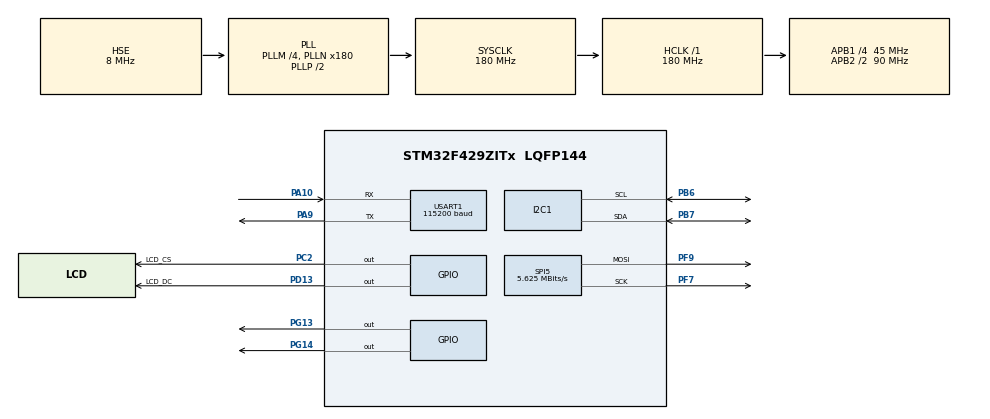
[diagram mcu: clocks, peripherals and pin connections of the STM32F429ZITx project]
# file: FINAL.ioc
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I2C1.I2C_Mode=I2C_Standard
Mcu.Family=STM32F4
Mcu.Name=STM32F429ZITx
Mcu.Package=LQFP144
NVIC.PriorityGroup=NVIC_PRIORITYGROUP_4
PA10.Mode=Asynchronous
PA10.Signal=USART1_RX
PA9.Mode=Asynchronous
PA9.Signal=USART1_TX
PB6.Mode=I2C
PB6.Signal=I2C1_SCL
PB7.Mode=I2C
PB7.Signal=I2C1_SDA
PC2.GPIO_Label=LCD_CS 
PC2.GPIO_Speed=GPIO_SPEED_FREQ_LOW
PC2.PinState=GPIO_PIN_SET
PC2.Signal=GPIO_Output
PD13.GPIO_Label=LCD_DC
PD13.Signal=GPIO_Output
PF7.Mode=TX_Only_Simplex_Unidirect_Master
PF7.Signal=SPI5_SCK
PF9.Mode=TX_Only_Simplex_Unidirect_Master
PF9.Signal=SPI5_MOSI
PG13.Signal=GPIO_Output
PG14.Signal=GPIO_Output
PH0/OSC_IN.Mode=HSE-External-Oscillator
PH0/OSC_IN.Signal=RCC_OSC_IN
PH1/OSC_OUT.Mode=HSE-External-Oscillator
PH1/OSC_OUT.Signal=RCC_OSC_OUT
ProjectManager.HeapSize=0x200
ProjectManager.StackSize=0x400
ProjectManager.TargetToolchain=STM32CubeIDE
RCC.48MHZClocksFreq_Value=120000000
RCC.AHBFreq_Value=180000000
RCC.APB1CLKDivider=RCC_HCLK_DIV4
RCC.APB1Freq_Value=45000000
RCC.APB1TimFreq_Value=90000000
RCC.APB2CLKDivider=RCC_HCLK_DIV2
RCC.APB2Freq_Value=90000000
RCC.APB2TimFreq_Value=180000000
RCC.CortexFreq_Value=180000000
RCC.HCLKFreq_Value=180000000
RCC.HSE_VALUE=8000000
RCC.HSI_VALUE=16000000
RCC.LSE_VALUE=32768
RCC.PLLM=4
RCC.PLLN=180
RCC.PLLQ=3
RCC.PLLSAIN=50
RCC.PLLSourceVirtual=RCC_PLLSOURCE_HSE
RCC.SYSCLKFreq_VALUE=180000000
RCC.SYSCLKSource=RCC_SYSCLKSOURCE_PLLCLK
RCC.VCOOutputFreq_Value=360000000
SPI5.BaudRatePrescaler=SPI_BAUDRATEPRESCALER_16
SPI5.CalculateBaudRate=5.625 MBits/s
SPI5.Direction=SPI_DIRECTION_2LINES
SPI5.Mode=SPI_MODE_MASTER
SPI5.VirtualType=VM_MASTER
USART1.BaudRate=115200
USART1.VirtualMode=VM_ASYNC
board=STM32F429I-DISC1

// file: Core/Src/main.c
/* USER CODE BEGIN Header */
/**
  ******************************************************************************
  * @file           : main.c
  * @brief          : OINSExpress — STM32F429I-DISC1
  *
  *  PFA 2026 — FST | Mrabet Islem & Merghni Ons
  *
  *  CORRECTIONS APPLIQUEES :
  *    1. Suppression du HAL_Delay(2000) bloquant dans la branche NORMAL
  *    2. Compute_State avec GATE STATIONNAIRE (anti-faux-positifs au repos)
  *    3. Confirmation temporelle (3 lectures consécutives) avant changement d'état
  *    4. Calibration MPU6050 au boot (offsets accéléromètre + gyroscope)
  *    5. Nettoyage commentaire orphelin + doublon LED
  ******************************************************************************
  */
/* USER CODE END Header */

#include "main.h"
/* USER CODE BEGIN Includes */
#include "mpu6050.h"
#include "ili9341.h"
#include <stdio.h>
#include <string.h>
#include <math.h>
/* USER CODE END Includes */

I2C_HandleTypeDef hi2c1;
SPI_HandleTypeDef hspi5;
UART_HandleTypeDef huart1;

/* USER CODE BEGIN PD */

/* ══════════════════════════════════════════════════════════════
 * PALETTE — Bleu marine fonce et derivees (RGB565)
 * ══════════════════════════════════════════════════════════════ */
#define COL_BG        0x08A5   /* #0A1428  fond principal (tres sombre) */
#define COL_HEADER    0x0D1F   /* #172554  bleu marine header           */
#define COL_SECTION   0x1108   /* #112244  fond titre de section        */
#define COL_BORDER    0x1A51   /* #1A4A8A  bordure / separateur         */
#define COL_VALUE     0x07FF   /* cyan vif - valeurs numeriques         */
#define COL_LABEL     0x7496   /* #7090B0  labels axes / unites         */
#define COL_WHITE     0xFFFF   /* blanc - titres                        */
#define COL_BAR_BG    0x0908   /* #0D2040  fond barre                   */
#define COL_BAR_ACC   0x041F   /* #0080FF  barre accelerometre          */
#define COL_BAR_GYR   0x0654   /* #00C8A0  barre gyroscope (teal)       */
#define COL_ORANGE    0xFB82   /* #F97316  orange accent                */
#define COL_NORMAL    0x0584   /* #10B981  NORMAL  (vert)               */
#define COL_RISKY     0xFD20   /* orange   RISQUE                       */
#define COL_DANGER    0xF800   /* rouge    DANGEREUX                    */

/* ── Positions Y du layout vertical (ecran 240x320) ────────── */
#define Y_STATE      31
#define Y_STATE_H    99
#define Y_ACC_TITLE  132
#define Y_ACC_X      149
#define Y_ACC_Y      172
#define Y_ACC_Z      195
#define Y_GYR_TITLE  219
#define Y_GYR_X      236
#define Y_GYR_Y      259
#define Y_GYR_Z      282
#define Y_TEMP       304

/* ── LEDs ───────────────────────────────────────────────────── */
#define LED_GREEN_PORT  GPIOG
#define LED_GREEN_PIN   GPIO_PIN_13
#define LED_RED_PORT    GPIOG
#define LED_RED_PIN     GPIO_PIN_14

/* ── Timings ────────────────────────────────────────────────── */
#define MPU_PERIOD_MS   50
#define ESP32_PERIOD_MS 200   /* 5 Hz */
#define LCD_PERIOD_MS   200

/* ── Seuils conduite ────────────────────────────────────────── */
#define THRESH_BRAKE       -1.5f
#define THRESH_ACCEL        1.5f
#define THRESH_TURN        80.0f

/* ── Gate stationnaire (anti-faux-positifs au repos) ───────── */
#define STAT_GYRO_MAG_MAX   8.0f    /* °/s : si gyro_mag < 8 → considéré immobile */
#define STAT_ACC_HORIZ_MAX  0.15f   /* g   : si acc horizontale < 0.15g → idem */

/* ── Confirmation temporelle ────────────────────────────────── */
#define CONFIRM_COUNT  3            /* 3 lectures consécutives (≈150 ms) */

/* USER CODE END PD */

/* USER CODE BEGIN PV */
static char      tx_buf[256];
static MPU6050_t mpu;

/* Offsets de calibration (mesurés au boot, capteur immobile) */
static float acc_off[3] = {0.0f, 0.0f, 0.0f};
static float gyr_off[3] = {0.0f, 0.0f, 0.0f};

typedef enum { STATE_NORMAL, STATE_RISKY, STATE_AGGRESSIVE } DriveState;
static DriveState currentState = STATE_NORMAL;
static DriveState lastState    = STATE_NORMAL;

/* Compteurs pour la confirmation temporelle (anti-faux-positifs) */
static uint8_t risky_counter      = 0;
static uint8_t aggressive_counter = 0;

/* USER CODE END PV */

void SystemClock_Config(void);
static void MX_GPIO_Init(void);
static void MX_SPI5_Init(void);
static void MX_I2C1_Init(void);
static void MX_USART1_UART_Init(void);

/* USER CODE BEGIN PFP */
static void Display_Init_Screen(void);
static void Display_Header(void);
static void Display_DriveState(DriveState state);
static void Display_IMU(MPU6050_t *d);
static void Draw_SectionTitle(uint16_t y, const char *title, uint16_t accent);
static void Draw_ValueRow(uint16_t y, char axis, float value, float vmax,
                          const char *unit, uint16_t bar_color);
static void Send_To_ESP32(MPU6050_t *d);
static DriveState Compute_State(MPU6050_t *d);
/* USER CODE END PFP */

/* USER CODE BEGIN 0 */

/* ── Ecran de demarrage ─────────────────────────────────────── */
static void Display_Init_Screen(void)
{
    LCD_FillScreen(COL_BG);

    /* Header */
    LCD_FillRect(0, 0, 240, 42, COL_HEADER);
    LCD_FillRect(0, 0, 5,   42, COL_ORANGE);
    LCD_DrawHLine(0, 42, 240, COL_BORDER);
    LCD_DrawStringLarge(12, 9, "OINSExpress", COL_WHITE, COL_HEADER);

    /* Titre central */
    LCD_DrawString(40, 110, "Systeme de livraison", COL_LABEL, COL_BG);
    LCD_DrawString(64, 130, "intelligente",         COL_VALUE, COL_BG);

    /* Barre de chargement */
    LCD_DrawString(60, 180, "Demarrage...", COL_VALUE, COL_BG);
    LCD_FillRect(16, 200, 208, 8, COL_BAR_BG);
    for (int i = 0; i <= 208; i += 16) {
        LCD_FillRect(16, 200, i, 8, COL_BAR_ACC);
        HAL_Delay(25);
    }
}

/* ── En-tete fixe (30px, sans texte secondaire) ─────────────── */
static void Display_Header(void)
{
    LCD_FillRect(0, 0, 240, 30, COL_HEADER);
    LCD_FillRect(0, 0, 5,   30, COL_ORANGE);
    LCD_DrawStringLarge(12, 3, "OINSExpress", COL_WHITE, COL_HEADER);
    LCD_DrawHLine(0, 30, 240, COL_BORDER);
}

/* ── Titre de section ───────────────────────────────────────── */
static void Draw_SectionTitle(uint16_t y, const char *title, uint16_t accent)
{
    LCD_FillRect(0, y, 240, 16, COL_SECTION);
    LCD_FillRect(0, y, 3,   16, accent);
    LCD_DrawString(8, y + 1, title, COL_WHITE, COL_SECTION);
}

/* ── Ligne valeur + mini barre centree sur zero ─────────────── */
static void Draw_ValueRow(uint16_t y, char axis,
                          float value, float vmax,
                          const char *unit,
                          uint16_t bar_color)
{
    char buf[28];
    char lbl[2] = {axis, '\0'};

    LCD_FillRect(0, y, 240, 22, COL_BG);

    LCD_DrawString(6, y + 2, lbl, COL_LABEL, COL_BG);

    snprintf(buf, sizeof(buf), "%+7.3f %s", value, unit);
    LCD_DrawString(20, y + 2, buf, COL_VALUE, COL_BG);

    uint16_t bx  = 6;
    uint16_t bw  = 228;
    uint16_t bh  = 5;
    uint16_t by  = y + 16;
    uint16_t mid = bx + bw / 2;
    LCD_FillRect(bx, by, bw, bh, COL_BAR_BG);

    float clamped = value;
    if (clamped >  vmax) clamped =  vmax;
    if (clamped < -vmax) clamped = -vmax;
    int pix = (int)(clamped / vmax * (bw / 2));
    if (pix > 0) {
        LCD_FillRect(mid,       by, (uint16_t)pix,  bh, bar_color);
    } else if (pix < 0) {
        LCD_FillRect((uint16_t)(mid + pix), by, (uint16_t)(-pix), bh, bar_color);
    }

    LCD_FillRect(mid - 1, by, 2, bh, COL_BORDER);
}

/* ── Grande carte etat (inspiree app mobile) ────────────────── */
static void Display_DriveState(DriveState state)
{
    uint16_t bg_color, accent;
    const char *label;
    const char *msg;

    switch (state) {
        case STATE_AGGRESSIVE:
            bg_color = 0x6000;
            accent   = COL_DANGER;
            label    = "DANGEREUX";
            msg      = "Ralentissez !";
            break;
        case STATE_RISKY:
            bg_color = 0x4200;
            accent   = COL_RISKY;
            label    = "RISQUE";
            msg      = "Soyez prudent";
            break;
        default:
            bg_color = 0x0240;
            accent   = COL_NORMAL;
            label    = "NORMAL";
            msg      = "Tout va bien";
            break;
    }

    LCD_FillRect(0, Y_STATE, 240, Y_STATE_H, bg_color);
    LCD_FillRect(0, Y_STATE, 5, Y_STATE_H, accent);

    {
        const char *sub = "ETAT DE CONDUITE";
        int sx = (240 - (int)strlen(sub) * 8) / 2;
        LCD_DrawString((uint16_t)sx, Y_STATE + 10, sub, COL_WHITE, bg_color);
    }
    {
        int lx = (240 - (int)strlen(label) * 16) / 2;
        if (lx < 6) lx = 6;
        LCD_DrawStringLarge((uint16_t)lx, Y_STATE + 32, label, COL_WHITE, bg_color);
    }
    {
        int mx = (240 - (int)strlen(msg) * 8) / 2;
        if (mx < 6) mx = 6;
        LCD_DrawString((uint16_t)mx, Y_STATE + 72, msg, COL_WHITE, bg_color);
    }

    LCD_DrawHLine(0, Y_STATE + Y_STATE_H, 240, COL_BORDER);
}

/* ── Affichage IMU — layout vertical sans footer ────────────── */
static void Display_IMU(MPU6050_t *d)
{
    char buf[32];

    Draw_SectionTitle(Y_ACC_TITLE, " ACCELEROMETRE (g)", COL_BAR_ACC);
    Draw_ValueRow(Y_ACC_X, 'X', d->Ax, 3.0f,   "g  ", COL_BAR_ACC);
    Draw_ValueRow(Y_ACC_Y, 'Y', d->Ay, 3.0f,   "g  ", COL_BAR_ACC);
    Draw_ValueRow(Y_ACC_Z, 'Z', d->Az, 3.0f,   "g  ", COL_BAR_ACC);

    LCD_DrawHLine(0, Y_GYR_TITLE - 1, 240, COL_BORDER);

    Draw_SectionTitle(Y_GYR_TITLE, " GYROSCOPE (deg/s)", COL_BAR_GYR);
    Draw_ValueRow(Y_GYR_X, 'X', d->Gx, 200.0f, "d/s", COL_BAR_GYR);
    Draw_ValueRow(Y_GYR_Y, 'Y', d->Gy, 200.0f, "d/s", COL_BAR_GYR);
    Draw_ValueRow(Y_GYR_Z, 'Z', d->Gz, 200.0f, "d/s", COL_BAR_GYR);

    LCD_DrawHLine(0, Y_TEMP - 1, 240, COL_BORDER);

    LCD_FillRect(0, Y_TEMP, 240, 16, COL_BG);
    snprintf(buf, sizeof(buf), "  Temp : %.1f C", d->Temperature);
    LCD_DrawString(0, Y_TEMP + 1, buf, COL_LABEL, COL_BG);
}

/* ── Calcul etat de conduite (avec GATE STATIONNAIRE) ──────── */
static DriveState Compute_State(MPU6050_t *d)
{
    float gx = fabsf(d->Gx);
    float gy = fabsf(d->Gy);
    float gz = fabsf(d->Gz);
    float ay = fabsf(d->Ay);
    float ax = d->Ax;

    /* Magnitudes globales */
    float gyro_mag  = sqrtf(gx*gx + gy*gy + gz*gz);
    float acc_horiz = sqrtf(ax*ax + ay*ay);

    /* ── 1) GATE STATIONNAIRE ──
     *    Si tout est très faible, le véhicule est à l'arrêt :
     *    on force NORMAL pour ignorer le bruit du capteur. */
    if (gyro_mag < STAT_GYRO_MAG_MAX && acc_horiz < STAT_ACC_HORIZ_MAX) {
        return STATE_NORMAL;
    }

    /* ── 2) Seuils dangereux ── */
    if (gz > 150.0f || ay > 2.5f) return STATE_AGGRESSIVE;
    if (gz > 80.0f  || ay > 1.5f) return STATE_RISKY;
    if (ax < THRESH_BRAKE || ax > THRESH_ACCEL) return STATE_RISKY;

    return STATE_NORMAL;
}

/* ── Envoi JSON → ESP32 via USART1 ─────────────────────────── */
static void Send_To_ESP32(MPU6050_t *d)
{
    int len = snprintf(tx_buf, sizeof(tx_buf),
        "{\"accX\":%.3f,\"accY\":%.3f,\"accZ\":%.3f,"
        "\"gyrX\":%.2f,\"gyrY\":%.2f,\"gyrZ\":%.2f}\n",
        d->Ax, d->Ay, d->Az,
        d->Gx, d->Gy, d->Gz
    );
    HAL_UART_Transmit(&huart1, (uint8_t*)tx_buf, len, 200);
}

/* USER CODE END 0 */

int main(void)
{
  HAL_Init();
  SystemClock_Config();
  MX_GPIO_Init();
  MX_SPI5_Init();
  MX_I2C1_Init();
  MX_USART1_UART_Init();

  /* USER CODE BEGIN 2 */
  LCD_Init(&hspi5);
  Display_Init_Screen();
  HAL_Delay(500);

  /* ─── Init MPU6500 ─── */
  if (MPU6050_Init(&hi2c1) != HAL_OK)
  {
      LCD_FillScreen(COL_DANGER);
      LCD_FillRect(0, 0, 240, 32, 0x5000);
      LCD_DrawStringLarge(8, 6,   "OINSExpress", COL_WHITE, 0x5000);
      LCD_DrawHLine(0, 32, 240, COL_ORANGE);
      LCD_DrawStringLarge(20, 80,  "ERREUR MPU", COL_WHITE, COL_DANGER);
      LCD_DrawString(20, 120, "Verifiez cablage I2C", COL_WHITE,  COL_DANGER);
      LCD_DrawString(20, 140, "PB6=SCL  PB7=SDA",    COL_ORANGE, COL_DANGER);
      HAL_GPIO_WritePin(LED_RED_PORT, LED_RED_PIN, GPIO_PIN_SET);
      while (1);
  }

  /* ════════ Calibration MPU6050 (véhicule IMMOBILE et à plat) ════════
   * 200 échantillons * 10 ms = 2 secondes. Ne PAS bouger le capteur ! */
  LCD_DrawString(20, 120, "Calibration MPU... ne bougez pas", COL_WHITE, COL_BG);
  for (int i = 0; i < 200; i++) {
      MPU6050_Read_All(&hi2c1, &mpu);
      acc_off[0] += mpu.Ax;
      acc_off[1] += mpu.Ay;
      acc_off[2] += (mpu.Az + 1.0f);   /* Az doit lire -1g à l'arrêt */
      gyr_off[0] += mpu.Gx;
      gyr_off[1] += mpu.Gy;
      gyr_off[2] += mpu.Gz;
      HAL_Delay(10);
  }
  for (int k = 0; k < 3; k++) {
      acc_off[k] /= 200.0f;
      gyr_off[k] /= 200.0f;
  }
  LCD_FillRect(0, 120, 240, 16, COL_BG);
  /* ═══════════════════════════════════════════════════════════════════ */

  HAL_GPIO_WritePin(LED_GREEN_PORT, LED_GREEN_PIN, GPIO_PIN_SET);
  LCD_FillScreen(COL_BG);
  Display_Header();
  Display_DriveState(STATE_NORMAL);

  uint32_t t_mpu   = HAL_GetTick();
  uint32_t t_esp32 = HAL_GetTick();
  uint32_t t_lcd   = HAL_GetTick();

  /* USER CODE END 2 */

  while (1)
  {
    uint32_t now = HAL_GetTick();

    /* ── Tâche 1 : Lecture MPU @ 20 Hz ── */
    if ((now - t_mpu) >= MPU_PERIOD_MS)
    {
        t_mpu = now;
        MPU6050_Read_All(&hi2c1, &mpu);

        /* ── Soustraction des offsets de calibration ── */
        mpu.Ax -= acc_off[0];
        mpu.Ay -= acc_off[1];
        mpu.Az -= acc_off[2];
        mpu.Gx -= gyr_off[0];
        mpu.Gy -= gyr_off[1];
        mpu.Gz -= gyr_off[2];

        /* ── Calcul de l'état brut ── */
        DriveState raw_state = Compute_State(&mpu);

        /* ── Confirmation temporelle (anti-faux-positifs) ──
         *    On exige CONFIRM_COUNT lectures consécutives avant
         *    de changer effectivement d'état. */
        if (raw_state == STATE_AGGRESSIVE) {
            if (aggressive_counter < 255) aggressive_counter++;
            risky_counter = 0;
        } else if (raw_state == STATE_RISKY) {
            if (risky_counter < 255) risky_counter++;
            aggressive_counter = 0;
        } else {
            risky_counter      = 0;
            aggressive_counter = 0;
        }

        if      (aggressive_counter >= CONFIRM_COUNT) currentState = STATE_AGGRESSIVE;
        else if (risky_counter      >= CONFIRM_COUNT) currentState = STATE_RISKY;
        else                                          currentState = STATE_NORMAL;

        /* ── Pilotage des LEDs ── */
        if (currentState == STATE_AGGRESSIVE) {
            HAL_GPIO_WritePin(LED_RED_PORT,   LED_RED_PIN,   GPIO_PIN_SET);
            HAL_GPIO_WritePin(LED_GREEN_PORT, LED_GREEN_PIN, GPIO_PIN_RESET);
        } else if (currentState == STATE_RISKY) {
            HAL_GPIO_TogglePin(LED_RED_PORT, LED_RED_PIN);
            HAL_GPIO_WritePin(LED_GREEN_PORT, LED_GREEN_PIN, GPIO_PIN_RESET);
        } else {
            HAL_GPIO_WritePin(LED_RED_PORT,   LED_RED_PIN,   GPIO_PIN_RESET);
            HAL_GPIO_WritePin(LED_GREEN_PORT, LED_GREEN_PIN, GPIO_PIN_SET);
            /* PAS de HAL_Delay ici : il bloquait le système 2 secondes
             * et provoquait l'oscillation NORMAL → RISKY → NORMAL. */
        }
    }

    /* ── Tâche 2 : Envoi ESP32 @ 5 Hz ── */
    if ((now - t_esp32) >= ESP32_PERIOD_MS)
    {
        t_esp32 = now;
        Send_To_ESP32(&mpu);
    }

    /* ── Tâche 3 : LCD @ 5 Hz ── */
    if ((now - t_lcd) >= LCD_PERIOD_MS)
    {
        t_lcd = now;
        if (currentState != lastState) {
            Display_DriveState(currentState);
            lastState = currentState;
        }
        Display_IMU(&mpu);
    }
  }
}

void SystemClock_Config(void)
{
  RCC_OscInitTypeDef RCC_OscInitStruct = {0};
  RCC_ClkInitTypeDef RCC_ClkInitStruct = {0};
  __HAL_RCC_PWR_CLK_ENABLE();
  __HAL_PWR_VOLTAGESCALING_CONFIG(PWR_REGULATOR_VOLTAGE_SCALE1);
  RCC_OscInitStruct.OscillatorType = RCC_OSCILLATORTYPE_HSE;
  RCC_OscInitStruct.HSEState = RCC_HSE_ON;
  RCC_OscInitStruct.PLL.PLLState = RCC_PLL_ON;
  RCC_OscInitStruct.PLL.PLLSource = RCC_PLLSOURCE_HSE;
  RCC_OscInitStruct.PLL.PLLM = 4;
  RCC_OscInitStruct.PLL.PLLN = 180;
  RCC_OscInitStruct.PLL.PLLP = RCC_PLLP_DIV2;
  RCC_OscInitStruct.PLL.PLLQ = 3;
  if (HAL_RCC_OscConfig(&RCC_OscInitStruct) != HAL_OK) Error_Handler();
  if (HAL_PWREx_EnableOverDrive() != HAL_OK) Error_Handler();
  RCC_ClkInitStruct.ClockType = RCC_CLOCKTYPE_HCLK|RCC_CLOCKTYPE_SYSCLK
                              |RCC_CLOCKTYPE_PCLK1|RCC_CLOCKTYPE_PCLK2;
  RCC_ClkInitStruct.SYSCLKSource = RCC_SYSCLKSOURCE_PLLCLK;
  RCC_ClkInitStruct.AHBCLKDivider = RCC_SYSCLK_DIV1;
  RCC_ClkInitStruct.APB1CLKDivider = RCC_HCLK_DIV4;
  RCC_ClkInitStruct.APB2CLKDivider = RCC_HCLK_DIV2;
  if (HAL_RCC_ClockConfig(&RCC_ClkInitStruct, FLASH_LATENCY_5) != HAL_OK) Error_Handler();
}

static void MX_I2C1_Init(void)
{
  hi2c1.Instance = I2C1;
  hi2c1.Init.ClockSpeed = 100000;
  hi2c1.Init.DutyCycle = I2C_DUTYCYCLE_2;
  hi2c1.Init.OwnAddress1 = 0;
  hi2c1.Init.AddressingMode = I2C_ADDRESSINGMODE_7BIT;
  hi2c1.Init.DualAddressMode = I2C_DUALADDRESS_DISABLE;
  hi2c1.Init.OwnAddress2 = 0;
  hi2c1.Init.GeneralCallMode = I2C_GENERALCALL_DISABLE;
  hi2c1.Init.NoStretchMode = I2C_NOSTRETCH_DISABLE;
  if (HAL_I2C_Init(&hi2c1) != HAL_OK) Error_Handler();
  if (HAL_I2CEx_ConfigAnalogFilter(&hi2c1, I2C_ANALOGFILTER_ENABLE) != HAL_OK) Error_Handler();
  if (HAL_I2CEx_ConfigDigitalFilter(&hi2c1, 0) != HAL_OK) Error_Handler();
}

static void MX_SPI5_Init(void)
{
  hspi5.Instance = SPI5;
  hspi5.Init.Mode = SPI_MODE_MASTER;
  hspi5.Init.Direction = SPI_DIRECTION_2LINES;
  hspi5.Init.DataSize = SPI_DATASIZE_8BIT;
  hspi5.Init.CLKPolarity = SPI_POLARITY_LOW;
  hspi5.Init.CLKPhase = SPI_PHASE_1EDGE;
  hspi5.Init.NSS = SPI_NSS_SOFT;
  hspi5.Init.BaudRatePrescaler = SPI_BAUDRATEPRESCALER_16;
  hspi5.Init.FirstBit = SPI_FIRSTBIT_MSB;
  hspi5.Init.TIMode = SPI_TIMODE_DISABLE;
  hspi5.Init.CRCCalculation = SPI_CRCCALCULATION_DISABLE;
  hspi5.Init.CRCPolynomial = 10;
  if (HAL_SPI_Init(&hspi5) != HAL_OK) Error_Handler();
}

static void MX_USART1_UART_Init(void)
{
  huart1.Instance = USART1;
  huart1.Init.BaudRate = 115200;
  huart1.Init.WordLength = UART_WORDLENGTH_8B;
  huart1.Init.StopBits = UART_STOPBITS_1;
  huart1.Init.Parity = UART_PARITY_NONE;
  huart1.Init.Mode = UART_MODE_TX_RX;
  huart1.Init.HwFlowCtl = UART_HWCONTROL_NONE;
  huart1.Init.OverSampling = UART_OVERSAMPLING_16;
  if (HAL_UART_Init(&huart1) != HAL_OK) Error_Handler();
}

static void MX_GPIO_Init(void)
{
  GPIO_InitTypeDef GPIO_InitStruct = {0};
  __HAL_RCC_GPIOF_CLK_ENABLE();
  __HAL_RCC_GPIOH_CLK_ENABLE();
  __HAL_RCC_GPIOC_CLK_ENABLE();
  __HAL_RCC_GPIOD_CLK_ENABLE();
  __HAL_RCC_GPIOA_CLK_ENABLE();
  __HAL_RCC_GPIOG_CLK_ENABLE();
  __HAL_RCC_GPIOB_CLK_ENABLE();
  HAL_GPIO_WritePin(LCD_CS_GPIO_Port, LCD_CS_Pin, GPIO_PIN_SET);
  HAL_GPIO_WritePin(LCD_DC_GPIO_Port, LCD_DC_Pin, GPIO_PIN_RESET);
  HAL_GPIO_WritePin(GPIOG, GPIO_PIN_13|GPIO_PIN_14, GPIO_PIN_RESET);
  GPIO_InitStruct.Pin = LCD_CS_Pin;
  GPIO_InitStruct.Mode = GPIO_MODE_OUTPUT_PP;
  GPIO_InitStruct.Pull = GPIO_NOPULL;
  GPIO_InitStruct.Speed = GPIO_SPEED_FREQ_LOW;
  HAL_GPIO_Init(LCD_CS_GPIO_Port, &GPIO_InitStruct);
  GPIO_InitStruct.Pin = LCD_DC_Pin;
  HAL_GPIO_Init(LCD_DC_GPIO_Port, &GPIO_InitStruct);
  GPIO_InitStruct.Pin = GPIO_PIN_13|GPIO_PIN_14;
  HAL_GPIO_Init(GPIOG, &GPIO_InitStruct);
}

void Error_Handler(void)
{
  __disable_irq();
  while (1) {}
}
